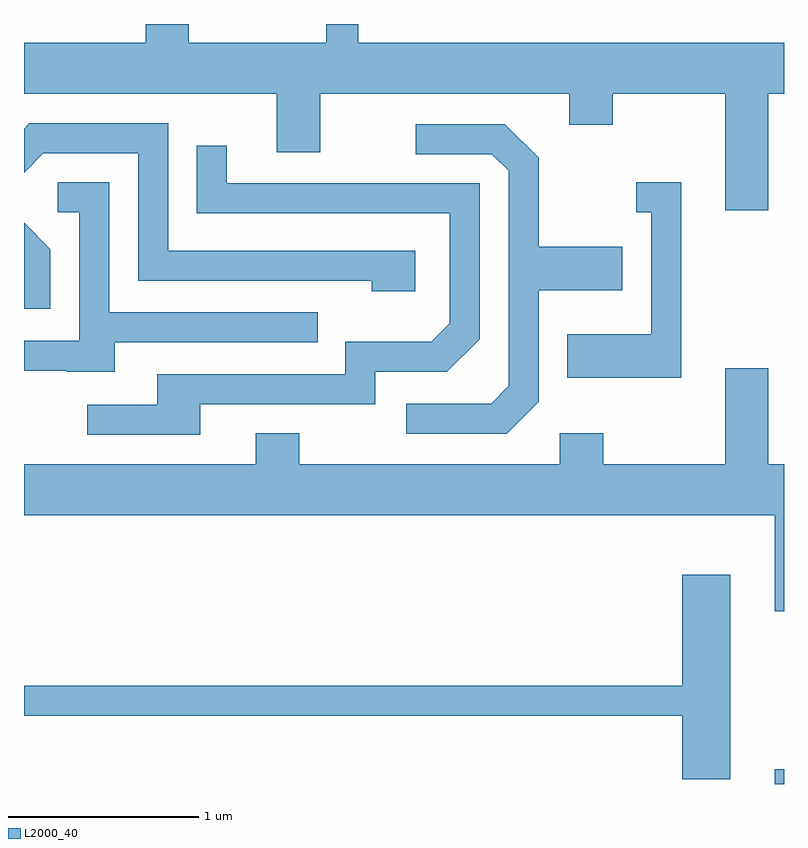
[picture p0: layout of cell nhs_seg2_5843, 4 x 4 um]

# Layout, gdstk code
import gdstk
lib = gdstk.Library(unit=1e-6, precision=1e-09)
def R(c, l, rs):  # rectangles x0, y0, x1, y1
    for r in rs: c.add(gdstk.rectangle(r[:2], r[2:], *l))
def P(c, l, *ps):  # polygons
    for p in ps: c.add(gdstk.Polygon(p, *l))
L2000_40 = (2000, 40)

nhs_seg2_5843 = lib.new_cell('nhs_seg2_5843')
R(nhs_seg2_5843, L2000_40, [(361.561,1035.802,361.611,1035.879)])
P(nhs_seg2_5843, L2000_40, [(361.529,1039.436),(361.611,1039.436),(361.611,1039.704),(359.369,1039.704),(359.369,1039.802),(359.201,1039.802),(359.201,1039.704),(358.479,1039.704),(358.479,1039.802),(358.251,1039.802),(358.251,1039.704),(357.611,1039.704),(357.611,1039.436),(358.941,1039.436),(358.941,1039.126),(359.169,1039.126),(359.169,1039.436),(360.481,1039.436),(360.481,1039.271),(360.709,1039.271),(360.709,1039.436),(361.301,1039.436),(361.301,1038.821),(361.529,1038.821)],
  [(359.669,1038.609),(358.369,1038.609),(358.369,1039.279),(357.639,1039.279),(357.611,1039.251),(357.611,1039.02),(357.712,1039.121),(358.211,1039.121),(358.211,1038.451),(359.441,1038.451),(359.441,1038.396),(359.669,1038.396)],
  [(360.319,1037.814),(360.319,1038.401),(360.759,1038.401),(360.759,1038.629),(360.319,1038.629),(360.319,1039.097),(360.142,1039.274),(359.673,1039.274),(359.673,1039.116),(360.074,1039.116),(360.161,1039.029),(360.161,1037.897),(360.069,1037.804),(359.623,1037.804),(359.623,1037.646),(360.152,1037.646)],
  [(358.539,1037.801),(359.459,1037.801),(359.459,1037.971),(359.837,1037.971),(360.009,1038.144),(360.009,1038.964),(358.679,1038.964),(358.679,1039.162),(358.521,1039.162),(358.521,1038.806),(359.851,1038.806),(359.851,1038.227),(359.754,1038.129),(359.301,1038.129),(359.301,1037.959),(358.311,1037.959),(358.311,1037.799),(357.943,1037.799),(357.943,1037.641),(358.539,1037.641)],
  [(361.069,1038.969),(360.833,1038.969),(360.833,1038.811),(360.911,1038.811),(360.911,1038.169),(360.471,1038.169),(360.471,1037.941),(361.069,1037.941)],
  [(358.089,1038.126),(359.158,1038.126),(359.158,1038.284),(358.059,1038.284),(358.059,1038.969),(357.788,1038.969),(357.788,1038.811),(357.901,1038.811),(357.901,1038.134),(357.611,1038.134),(357.611,1037.976),(357.835,1037.976),(357.835,1037.971),(358.089,1037.971)],
  [(357.749,1038.617),(357.611,1038.755),(357.611,1038.303),(357.749,1038.303)],
  [(361.611,1037.484),(361.529,1037.484),(361.529,1037.989),(361.301,1037.989),(361.301,1037.484),(360.659,1037.484),(360.659,1037.649),(360.431,1037.649),(360.431,1037.484),(359.059,1037.484),(359.059,1037.649),(358.831,1037.649),(358.831,1037.484),(357.611,1037.484),(357.611,1037.216),(361.561,1037.216),(361.561,1036.711),(361.611,1036.711)],
  [(361.329,1036.904),(361.076,1036.904),(361.076,1036.319),(357.611,1036.319),(357.611,1036.161),(361.076,1036.161),(361.076,1035.826),(361.329,1035.826)])

lib.write_gds('nhs_seg2_5843.gds')
